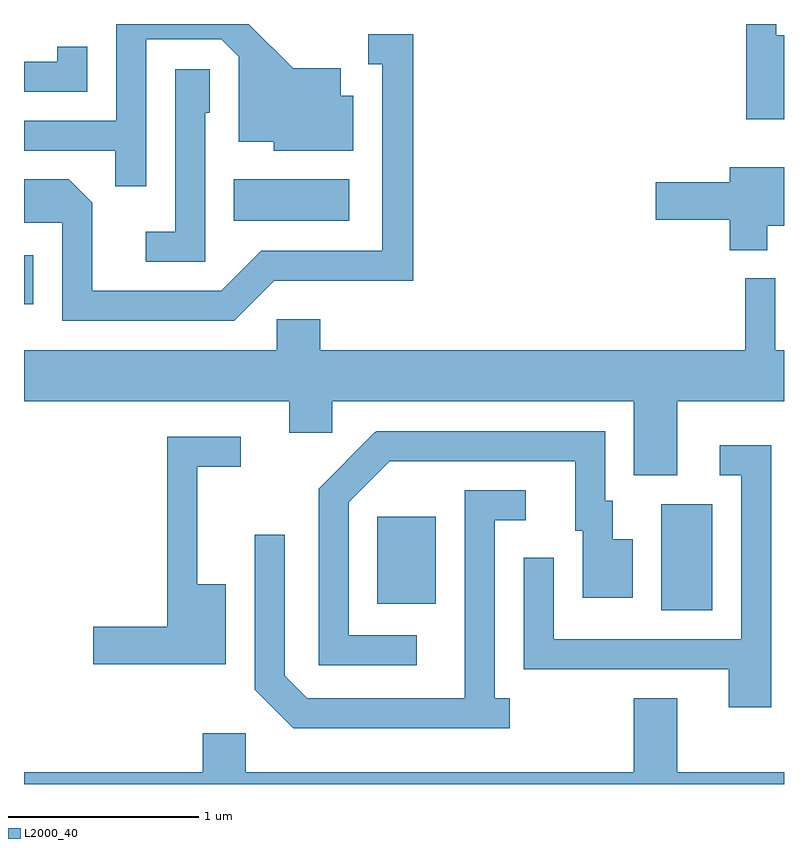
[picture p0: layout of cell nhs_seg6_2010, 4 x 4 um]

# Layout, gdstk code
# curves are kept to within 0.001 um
import gdstk
lib = gdstk.Library(unit=1e-6, precision=1e-09)
def R(c, l, rs):  # rectangles x0, y0, x1, y1
    for r in rs: c.add(gdstk.rectangle(r[:2], r[2:], *l))
def P(c, l, *ps):  # polygons
    for p in ps: c.add(gdstk.Polygon(p, *l))
L2000_40 = (2000, 40)

nhs_seg6_2010 = lib.new_cell('nhs_seg6_2010')
R(nhs_seg6_2010, L2000_40, [(248.966,1631.076,249.234,1631.634), (247.471,1631.111,247.779,1631.569), (246.716,1633.126,247.324,1633.344)])
P(nhs_seg6_2010, L2000_40, [(246.254,1634.081),(246.649,1634.081),(246.741,1633.989),(246.741,1633.541),(246.926,1633.541),(246.926,1633.496),(247.344,1633.496),(247.344,1633.784),(247.279,1633.784),(247.279,1633.929),(247.027,1633.929),(246.794,1634.162),(246.096,1634.162),(246.096,1633.654),(245.611,1633.654),(245.611,1633.496),(246.091,1633.496),(246.091,1633.308),(246.254,1633.308)],
  [(249.611,1634.104),(249.569,1634.104),(249.569,1634.162),(249.411,1634.162),(249.411,1633.661),(249.611,1633.661)],
  [(246.927,1632.811),(247.659,1632.811),(247.659,1634.109),(247.423,1634.109),(247.423,1633.951),(247.496,1633.951),(247.496,1632.969),(246.859,1632.969),(246.649,1632.759),(245.969,1632.759),(245.969,1633.222),(245.847,1633.344),(245.611,1633.344),(245.611,1633.116),(245.811,1633.116),(245.811,1632.601),(246.717,1632.601)],
  [(245.944,1634.043),(245.786,1634.043),(245.786,1633.964),(245.611,1633.964),(245.611,1633.806),(245.944,1633.806)],
  [(246.564,1633.696),(246.589,1633.696),(246.589,1633.924),(246.406,1633.924),(246.406,1633.069),(246.253,1633.069),(246.253,1632.911),(246.564,1632.911)],
  [(249.524,1633.101),(249.611,1633.101),(249.611,1633.409),(249.326,1633.409),(249.326,1633.329),(248.936,1633.329),(248.936,1633.131),(249.326,1633.131),(249.326,1632.971),(249.524,1632.971)],
  [(245.659,1632.944),(245.612,1632.944),(245.611,1632.945),(245.611,1632.686),(245.659,1632.686)],
  [(249.049,1632.176),(249.611,1632.176),(249.611,1632.444),(249.564,1632.444),(249.564,1632.823),(249.406,1632.823),(249.406,1632.444),(247.169,1632.444),(247.169,1632.609),(246.941,1632.609),(246.941,1632.444),(245.611,1632.444),(245.611,1632.176),(247.006,1632.176),(247.006,1632.011),(247.234,1632.011),(247.234,1632.176),(248.821,1632.176),(248.821,1631.786),(249.049,1631.786)],
  [(247.678,1630.944),(247.319,1630.944),(247.319,1631.644),(247.537,1631.861),(248.511,1631.861),(248.511,1631.496),(248.551,1631.496),(248.551,1631.141),(248.814,1631.141),(248.814,1631.449),(248.709,1631.449),(248.709,1631.654),(248.669,1631.654),(248.669,1632.019),(247.464,1632.019),(247.161,1631.717),(247.161,1630.786),(247.678,1630.786)],
  [(246.674,1631.214),(246.524,1631.214),(246.524,1631.831),(246.753,1631.831),(246.753,1631.989),(246.366,1631.989),(246.366,1630.989),(245.976,1630.989),(245.976,1630.791),(246.674,1630.791)],
  [(249.544,1631.944),(249.273,1631.944),(249.273,1631.786),(249.386,1631.786),(249.386,1630.924),(248.399,1630.924),(248.399,1631.353),(248.241,1631.353),(248.241,1630.766),(249.321,1630.766),(249.321,1630.566),(249.544,1630.566)],
  [(248.168,1630.614),(248.089,1630.614),(248.089,1631.551),(248.253,1631.551),(248.253,1631.709),(247.931,1631.709),(247.931,1630.614),(247.102,1630.614),(246.984,1630.732),(246.984,1631.473),(246.826,1631.473),(246.826,1630.659),(247.029,1630.456),(248.168,1630.456)],
  [(249.611,1630.224),(249.049,1630.224),(249.049,1630.614),(248.821,1630.614),(248.821,1630.224),(246.779,1630.224),(246.779,1630.429),(246.551,1630.429),(246.551,1630.224),(245.611,1630.224),(245.611,1630.162),(249.611,1630.162)])

lib.write_gds('nhs_seg6_2010.gds')
